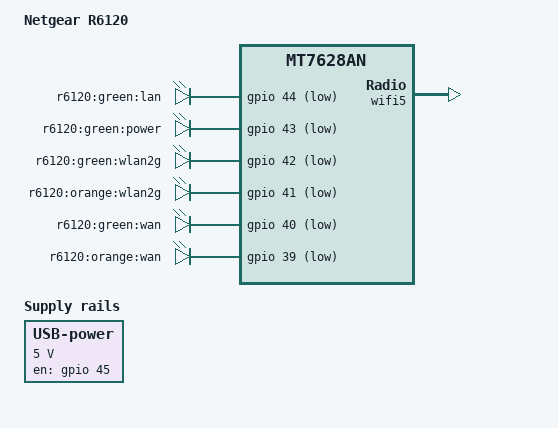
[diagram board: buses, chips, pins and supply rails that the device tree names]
#include "mt7628an_netgear_r6xxx.dtsi"

/ {
	compatible = "netgear,r6120", "mediatek,mt7628an-soc";
	model = "Netgear R6120";

	aliases {
		led-boot = &led_power;
		led-failsafe = &led_power;
		led-running = &led_power;
		led-upgrade = &led_power;
		label-mac-device = &ethernet;
	};

	leds {
		compatible = "gpio-leds";

		lan {
			label = "r6120:green:lan";
			gpios = <&gpio 44 GPIO_ACTIVE_LOW>;
		};

		led_power: power {
			label = "r6120:green:power";
			gpios = <&gpio 43 GPIO_ACTIVE_LOW>;
		};

		wlan2g_green {
			label = "r6120:green:wlan2g";
			gpios = <&gpio 42 GPIO_ACTIVE_LOW>;
			linux,default-trigger = "phy0tpt";
		};

		wlan2g_orange {
			label = "r6120:orange:wlan2g";
			gpios = <&gpio 41 GPIO_ACTIVE_LOW>;
		};

		wan_green {
			label = "r6120:green:wan";
			gpios = <&gpio 40 GPIO_ACTIVE_LOW>;
		};

		wan_orange {
			label = "r6120:orange:wan";
			gpios = <&gpio 39 GPIO_ACTIVE_LOW>;
		};
	};

	usb-regulator {
		compatible = "regulator-fixed";

		regulator-name = "USB-power";
		gpio = <&gpio 45 GPIO_ACTIVE_HIGH>;
		regulator-min-microvolt = <5000000>;
		regulator-max-microvolt = <5000000>;
		enable-active-high;

		regulator-always-on;
	};
};

&state_default {
	gpio {
		groups = "p0led_an", "p1led_an", "p2led_an", "p3led_an",
		         "p4led_an", "wdt", "wled_an", "uart1";
		function = "gpio";
	};
};

&partitions {
	partition@90000 {
		compatible = "denx,uimage";
		label = "firmware";
		reg = <0x90000 0xf60000>;
	};

	partition@ff0000 {
		label = "reserved";
		reg = <0xff0000 0x10000>;
		read-only;
	};
};

&wifi5 {
	mtd-mac-address = <&factory 0x4>;
	mtd-mac-address-increment = <(2)>;
};
